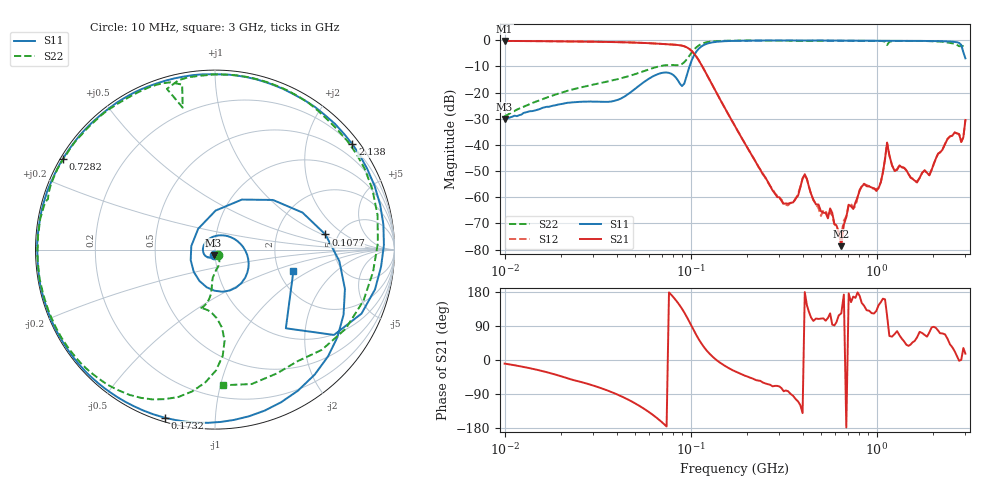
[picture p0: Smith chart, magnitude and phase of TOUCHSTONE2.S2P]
!Agilent Technologies,E5071C,MY46101273,A.11.02
!Date: Mon Sep 25 13:55:57 2017
!Data & Calibration Information:
!Freq	S11:SOLT2(ON)	S21:SOLT2(ON)	S12:SOLT2(ON)	S22:SOLT2(ON)
!PortZ  Port1:50+j0  Port2:50+j0
!Above PortZ is port z conversion or system Z0 setting when saving the data.
!When reading, reference impedance value at option line is always used.
# Hz S RI R 50
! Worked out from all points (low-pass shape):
!   201 points, 10 MHz to 3 GHz, reference 50 ohm
!   highest |S21| = -0.25 dB at 10 MHz (marker M1); lowest = -78.7 dB at 645.7 MHz (marker M2)
!   |S21| within 3 dB of the highest: start of sweep to 98.15 MHz
!   lowest |S11| = -30.1 dB at 10 MHz (marker M3), VSWR 1.06, Z = 49.1 - j2.99 ohm
!   |S11| at or under -10 dB: start of sweep to 98.58 MHz
!   |S22| runs from -29.1 to -0.1 dB; largest |S21 - S12| = 0.0057
!   S11 on the Smith chart (normalised r, x): 10 MHz: 0.98, -0.06; 107.7 MHz: 3.96, +1.09; 173.2 MHz: 0.02, -0.75; 728.2 MHz: 0.01, +0.28; 2.138 GHz: 0.17, +2.94; 3 GHz: 2.40, -0.71
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1e7  -0.00808 -0.0304  0.9588 -0.1601  0.9584 -0.1607  0.0144 -0.0321
2.648714e7  -0.0655 -0.0141  0.4785 -0.8169  0.4784 -0.817  -0.000659 -0.1289
4.561452e7  0.0448 0.0791  -0.2094 -0.8901  -0.2102 -0.8892  -0.017 -0.2021
6.758271e7  0.1684 -0.1562  -0.7946 -0.3295  -0.7938 -0.33  -0.0584 -0.3119
8.988592e7  -0.1322 0.0194  -0.5591 0.5572  -0.5598 0.5576  -0.0178 -0.3528
1.077471e8  0.615 0.0845  0.2071 0.4314  0.2071 0.4316  -0.055 -0.7409
1.307434e8  0.4624 -0.7858  0.1385 0.0233  0.1385 0.0233  -0.5413 -0.7824
1.732051e8  -0.279 -0.937  0.0199 -0.0114  0.0199 -0.0114  -0.8561 -0.4893
3.163239e8  -0.9251 -0.3589  9.75e-05 -0.000745  7.48e-05 -0.000697  -0.9866 0.0706
4.108573e8  -0.9873 -0.0797  -0.00275 3.63e-05  -0.00267 -8.18e-05  -0.9304 0.2824
4.567423e8  -0.9907 0.0324  -0.000207 0.000882  -0.000304 0.000829  -0.9115 0.3702
5.622541e8  -0.9595 0.246  -0.000333 0.000512  -0.000324 0.000414  -0.8226 0.5376
6.456747e8  -0.9088 0.3859  -6.36e-05 9.7e-05  -0.000159 0.000114  -0.7421 0.6417
7.281844e8  -0.8464 0.5066  -0.000595 0.000308  -0.000627 0.000411  -0.6581 0.7267
1.024742e9  -0.5484 0.8179  -0.00123 0.000862  -0.0012 0.00095  -0.3296 0.9171
1.137655e9  -0.414 0.8919  -0.00503 0.00973  -0.00501 0.00992  -0.18 0.7913
1.170567e9  -0.3738 0.9084  0.00285 0.00569  0.00285 0.00561  -0.2681 0.8955
1.648252e9  0.2402 0.9461  0.000967 0.00165  0.000984 0.00176  0.2847 0.9347
2.137802e9  0.7655 0.5874  0.0014 0.00664  0.00129 0.00661  0.7883 0.5326
2.478931e9  0.9381 0.1403  0.0109 0.00963  0.0109 0.00965  0.8803 -0.1247
2.851123e9  0.663 -0.4754  0.0114 6.86e-05  0.0114 9.21e-05  0.3461 -0.6892
3e9  0.437 -0.1178  0.0287 0.00864  0.0286 0.00871  0.0432 -0.7559
